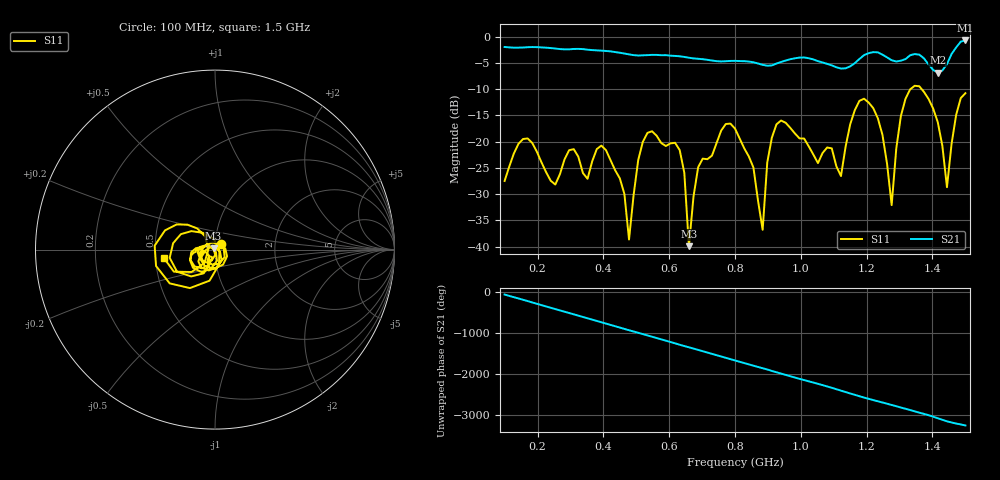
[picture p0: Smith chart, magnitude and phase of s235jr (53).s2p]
! NanoVNA-App
! Date: 2025-09-25 15:04:34
! Start: 100MHz Stop: 1,5GHz Points: 101
! S-Parameter data: F S11 S21 S12 S22
# Hz S RI R 50
!  Frequency  S11_Real  S11_Imag  S21_Real  S21_Imag  S12_Real  S12_Imag  S22_Real  S22_Imag
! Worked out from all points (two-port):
!   101 points, 100 MHz to 1.5 GHz, reference 50 ohm
!   highest |S21| = -0.72 dB at 1.5 GHz (marker M1); lowest = -6.8 dB at 1.416 GHz (marker M2)
!   |S21| within 3 dB of the highest: start of sweep to 629 MHz; 1.188 GHz to 1.256 GHz (67.7 MHz wide, 5.54 % of centre) (the widest 2 of 4)
!   lowest |S11| = -39.9 dB at 660 MHz (marker M3), VSWR 1.02, Z = 49.2 + j0.644 ohm
!   |S11| at or under -10 dB: start of sweep to 1.333 GHz; 1.367 GHz to end of sweep
!   S12 and S22 are empty: the file has one direction only
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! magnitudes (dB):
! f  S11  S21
! 100 MHz  -27.5  -2.0
! 170 MHz  -19.4  -2.0
! 338 MHz  -26.0  -2.4
! 408 MHz  -21.6  -2.7
! 478 MHz  -38.6  -3.4
! 520 MHz  -20.0  -3.5
! 576 MHz  -20.3  -3.5
! 632 MHz  -21.6  -3.7
! 660 MHz  -39.9  -4.0
! 688 MHz  -24.9  -4.2
! 800 MHz  -17.5  -4.6
! 884 MHz  -36.8  -5.4
! 926 MHz  -16.7  -5.1
! 1.038 GHz  -22.4  -4.3
! 1.122 GHz  -26.6  -6.1
! 1.192 GHz  -11.8  -3.5
! 1.248 GHz  -18.7  -3.4
! 1.276 GHz  -32.1  -4.5
! 1.332 GHz  -10.0  -3.5
! 1.416 GHz  -16.3  -6.8
! 1.444 GHz  -28.7  -5.2
! 1.5 GHz  -10.8  -0.7
